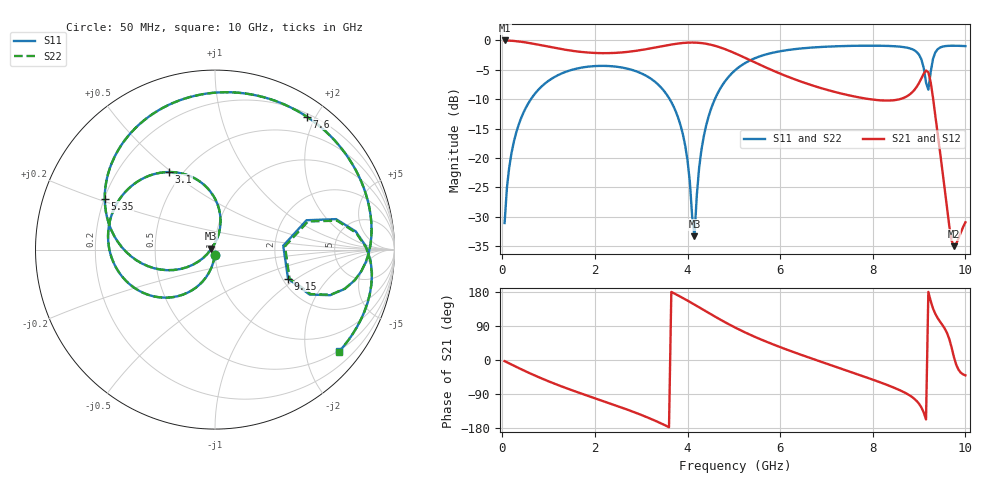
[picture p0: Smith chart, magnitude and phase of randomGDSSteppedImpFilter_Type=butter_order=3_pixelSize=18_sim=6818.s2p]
! freq	dB(S11)	phase(S11)	dB(S12)	phase(S12)
!  dB(S21)	phase(S21)	dB(S22)	phase(S22)
!S-par simulation data
#  GHz  S  DB  R 50
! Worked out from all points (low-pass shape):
!   200 points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, 50 MHz to 10 GHz, reference 50 ohm
!   highest |S21| = 0.00 dB at 50 MHz (marker M1); lowest = -35.0 dB at 9.75 GHz (marker M2)
!   |S21| within 3 dB of the highest: start of sweep to 5.254 GHz
!   lowest |S11| = -33.4 dB at 4.15 GHz (marker M3), VSWR 1.04, Z = 47.9 + j0.424 ohm
!   |S11| at or under -10 dB: start of sweep to 619.2 MHz; 3.614 GHz to 4.591 GHz (976.7 MHz wide, 23.8 % of centre)
!   |S22| runs from -33.4 to -0.9 dB; largest |S21 - S12| = 0
!   S11 on the Smith chart (normalised r, x): 50 MHz: 1.00, -0.06; 3.1 GHz: 0.42, +0.49; 5.35 GHz: 0.20, +0.21; 7.6 GHz: 0.24, +1.88; 9.15 GHz: 2.14, -0.86; 10 GHz: 0.48, -2.72
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0.05  -31.09 -93.0  -0.00 -3.0  -0.00 -3.0  -31.09 -93.0
0.2  -19.13 -102.1  -0.06 -12.1  -0.06 -12.1  -19.13 -102.1
0.5  -11.60 -119.8  -0.33 -29.7  -0.33 -29.7  -11.60 -119.8
1.05  -6.60 -149.1  -1.14 -58.7  -1.14 -58.7  -6.60 -149.1
1.75  -4.58 179.1  -1.99 -90.4  -1.99 -90.4  -4.58 179.1
3.1  -5.99 120.5  -1.50 -149.8  -1.50 -149.8  -5.99 120.5
3.4  -7.78 105.2  -1.06 -165.7  -1.06 -165.7  -7.78 105.2
3.9  -16.00 78.7  -0.44 163.5  -0.44 163.5  -16.00 78.7
4.15  -33.37 168.1  -0.37 146.2  -0.37 146.2  -33.37 168.1
4.25  -21.74 -144.6  -0.41 139.1  -0.41 139.1  -21.74 -144.7
4.4  -14.55 -148.1  -0.56 128.3  -0.56 128.3  -14.55 -148.1
5.05  -4.93 172.3  -2.27 84.3  -2.27 84.3  -4.93 172.2
5.35  -3.40 155.3  -3.36 66.7  -3.36 66.7  -3.40 155.3
6.7  -1.20 93.0  -7.67 3.1  -7.67 3.1  -1.20 92.9
7.6  -0.91 55.4  -9.54 -34.7  -9.54 -34.7  -0.91 55.4
8.35  -0.94 22.4  -10.24 -67.7  -10.24 -67.7  -0.94 22.3
8.9  -1.68 -8.4  -8.42 -102.7  -8.42 -102.7  -1.67 -8.3
9.15  -7.17 -21.7  -5.12 -156.8  -5.12 -156.8  -7.03 -21.2
9.3  -3.15 14.1  -9.73 136.3  -9.73 136.3  -3.11 13.3
9.45  -1.22 -4.0  -18.86 101.7  -18.86 101.7  -1.22 -4.4
9.75  -0.90 -25.5  -35.04 8.9  -35.04 8.9  -0.90 -25.9
10  -0.97 -39.3  -30.98 -40.5  -30.98 -40.5  -0.97 -39.6
